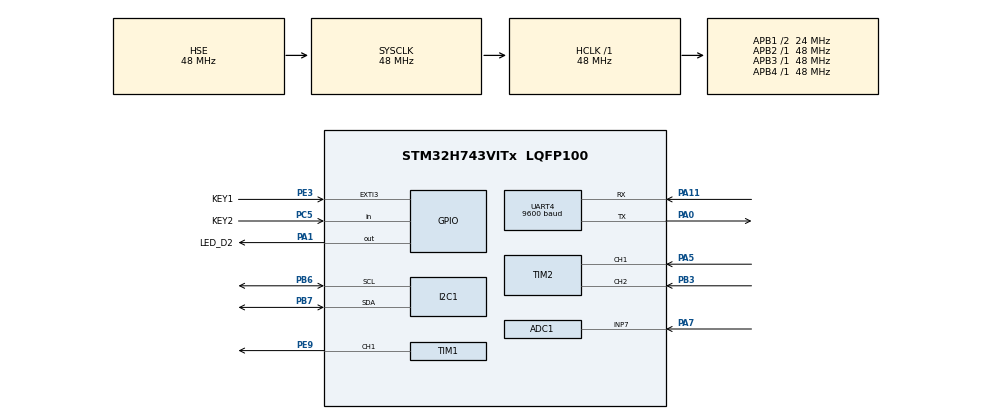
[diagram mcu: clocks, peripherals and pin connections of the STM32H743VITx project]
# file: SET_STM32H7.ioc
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ADC1.Channel-1\#ChannelRegularConversion=ADC_CHANNEL_7
ADC1.NbrOfConversionFlag=1
ADC1.OffsetNumber-1\#ChannelRegularConversion=ADC_OFFSET_NONE
ADC1.OffsetSignedSaturation-1\#ChannelRegularConversion=DISABLE
ADC1.Rank-1\#ChannelRegularConversion=1
ADC1.SamplingTime-1\#ChannelRegularConversion=ADC_SAMPLETIME_1CYCLE_5
ADC1.master=1
CORTEX_M7.default_mode_Activation=1
Dma.ADC1.0.Direction=DMA_PERIPH_TO_MEMORY
Dma.ADC1.0.EventEnable=DISABLE
Dma.ADC1.0.FIFOMode=DMA_FIFOMODE_DISABLE
Dma.ADC1.0.Instance=DMA1_Stream0
Dma.ADC1.0.MemDataAlignment=DMA_MDATAALIGN_HALFWORD
Dma.ADC1.0.MemInc=DMA_MINC_ENABLE
Dma.ADC1.0.Mode=DMA_CIRCULAR
Dma.ADC1.0.PeriphDataAlignment=DMA_PDATAALIGN_HALFWORD
Dma.ADC1.0.PeriphInc=DMA_PINC_DISABLE
Dma.ADC1.0.Polarity=HAL_DMAMUX_REQ_GEN_RISING
Dma.ADC1.0.Priority=DMA_PRIORITY_LOW
Dma.ADC1.0.RequestNumber=1
Dma.ADC1.0.SignalID=NONE
Dma.ADC1.0.SyncEnable=DISABLE
Dma.ADC1.0.SyncPolarity=HAL_DMAMUX_SYNC_NO_EVENT
Dma.ADC1.0.SyncRequestNumber=1
Dma.ADC1.0.SyncSignalID=NONE
Dma.Request0=ADC1
I2C1.Timing=0x00506682
Mcu.Family=STM32H7
Mcu.Name=STM32H743VITx
Mcu.Package=LQFP100
NVIC.DMA1_Stream0_IRQn=true\:0\:0\:false\:false\:true\:false\:true\:true
NVIC.EXTI3_IRQn=true\:2\:0\:true\:false\:true\:true\:true\:true
NVIC.PriorityGroup=NVIC_PRIORITYGROUP_4
NVIC.TIM2_IRQn=true\:1\:0\:true\:false\:true\:true\:true\:true
PA0.Mode=Asynchronous
PA0.Signal=UART4_TX
PA1.GPIO_Label=LED_D2
PA1.GPIO_PuPd=GPIO_PULLDOWN
PA1.Signal=GPIO_Output
PA11.Mode=Asynchronous
PA11.Signal=UART4_RX
PA5.Signal=S_TIM2_CH1_ETR
PA7.Signal=ADCx_INP7
PB3\ (JTDO/TRACESWO).Signal=S_TIM2_CH2
PB6.Mode=I2C
PB6.Signal=I2C1_SCL
PB7.Mode=I2C
PB7.Signal=I2C1_SDA
PC5.GPIO_Label=KEY2
PC5.GPIO_PuPd=GPIO_PULLUP
PC5.Signal=GPIO_Input
PE3.GPIO_Label=KEY1
PE3.GPIO_ModeDefaultEXTI=GPIO_MODE_IT_FALLING
PE3.GPIO_PuPd=GPIO_PULLUP
PE3.Signal=GPXTI3
PE9.Signal=S_TIM1_CH1
PH0-OSC_IN\ (PH0).Mode=HSE-External-Oscillator
PH0-OSC_IN\ (PH0).Signal=RCC_OSC_IN
PH1-OSC_OUT\ (PH1).Mode=HSE-External-Oscillator
PH1-OSC_OUT\ (PH1).Signal=RCC_OSC_OUT
ProjectManager.HeapSize=0x200
ProjectManager.StackSize=0x400
ProjectManager.TargetToolchain=STM32CubeIDE
RCC.ADCFreq_Value=80000000
RCC.APB1Freq_Value=24000000
RCC.APB2Freq_Value=48000000
RCC.APB3Freq_Value=48000000
RCC.APB4Freq_Value=48000000
RCC.CortexFreq_Value=48000000
RCC.D2PPRE1=RCC_APB1_DIV2
RCC.DIVM2=3
RCC.DIVN2=10
RCC.EnableHSERTCDevisor-ClockTree=true
RCC.HCLKFreq_Value=48000000
RCC.HSE_VALUE=48000000
RCC.PLL1_VCI_Range-AdvancedSettings=RCC_PLL1VCIRANGE_0
RCC.PLL2FRACN=0
RCC.PLL2_VCI_Range-AdvancedSettings=RCC_PLL2VCIRANGE_0
RCC.PLL3FRACN=0
RCC.PLLFRACN=0
RCC.PLLSourceVirtual=RCC_PLLSOURCE_HSE
RCC.SYSCLKFreq_VALUE=48000000
RCC.SYSCLKSource=RCC_SYSCLKSOURCE_HSE
RCC.USBFreq_Value=96750000
SH.ADCx_INP7.0=ADC1_INP7,IN7-Single-Ended
SH.S_TIM1_CH1.0=TIM1_CH1,PWM Generation1 CH1
SH.S_TIM2_CH1_ETR.0=TIM2_CH1,Encoder_Interface
SH.S_TIM2_CH2.0=TIM2_CH2,Encoder_Interface
TIM1.Channel-PWM\ Generation1\ CH1=TIM_CHANNEL_1
TIM1.Period=100
TIM1.Prescaler=48
TIM2.EncoderMode=TIM_ENCODERMODE_TI12
UART4.BaudRate=9600
VP_MEMORYMAP_VS_MEMORYMAP.Mode=CurAppReg
VP_TIM1_VS_ClockSourceINT.Mode=Internal
board=custom

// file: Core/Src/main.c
/* USER CODE BEGIN Header */
/**
 ******************************************************************************
 * @file           : main.c
 * @brief          : Main program body
 ******************************************************************************
 * @attention
 *
 * Copyright (c) 2024 STMicroelectronics.
 * All rights reserved.
 *
 * This software is licensed under terms that can be found in the LICENSE file
 * in the root directory of this software component.
 * If no LICENSE file comes with this software, it is provided AS-IS.
 *
 ******************************************************************************
 */
/* USER CODE END Header */
#include "main.h"

/* USER CODE BEGIN Includes */
#include "si5351.h"
#include "ui_lcd.h"
/* USER CODE END Includes */

/* USER CODE BEGIN PD */
#define MyI2C_LCD I2C_LCD_1
/* USER CODE END PD */

ADC_HandleTypeDef hadc1;
DMA_HandleTypeDef hdma_adc1;

I2C_HandleTypeDef hi2c1;

TIM_HandleTypeDef htim1;
TIM_HandleTypeDef htim2;

UART_HandleTypeDef huart4;

/* USER CODE BEGIN PV */
uint32_t encoder_value;
uint8_t value_k1, value_k2;
int8_t counter = 0;
int8_t option = 0;
uint16_t last_fsm_state = 0;
uint8_t lcd_ret_value = 0;
uint32_t last_value = 0;
int freq_si5351 = 0;
uint8_t flag = 0;
uint8_t freq_counter = 0;
int8_t freq_counter_state = 0;
int8_t pwm_counter = 0;
uint32_t adc_data_raw;
uint16_t adc_data_dma;
uint8_t state_debug = 0;
/* USER CODE END PV */

void SystemClock_Config(void);
static void MPU_Config(void);
static void MX_GPIO_Init(void);
static void MX_DMA_Init(void);
static void MX_UART4_Init(void);
static void MX_I2C1_Init(void);
static void MX_TIM2_Init(void);
static void MX_TIM1_Init(void);
static void MX_ADC1_Init(void);
/* USER CODE BEGIN PFP */
uint8_t Is_Value_K1_Changed();
void Counter_Get_Value();
void Frequency_Get_Value();
void PWM_Get_Value();
void Option_Get_Value();
/* USER CODE END PFP */

/* USER CODE BEGIN 0 */
void HAL_GPIO_EXTI_Callback(uint16_t GPIO_Pin)
{
    static uint32_t last_interrupt_time = 0;
    uint32_t interrupt_time = HAL_GetTick();

    if (interrupt_time - last_interrupt_time > 200) {
        value_k1 = !value_k1;
        last_value = 0;
        encoder_value = __HAL_TIM_SET_COUNTER(&htim2, 0);
    }

    last_interrupt_time = interrupt_time;
}
void HAL_TIM_IC_CaptureCallback(TIM_HandleTypeDef* htim)
{
    encoder_value = __HAL_TIM_GET_COUNTER(htim);
}
void HAL_ADC_ConvCpltCallback(ADC_HandleTypeDef* hadc)
{
    adc_data_dma = adc_data_raw;
}
/* USER CODE END 0 */

int main(void)
{

    /* USER CODE BEGIN 1 */
    uint8_t MSG[50] = { '\0' };
    /* USER CODE END 1 */

    /* MPU Configuration--------------------------------------------------------*/
    MPU_Config();

    /* MCU Configuration--------------------------------------------------------*/

    /* Reset of all peripherals, Initializes the Flash interface and the Systick. */
    HAL_Init();

    /* Configure the system clock */
    SystemClock_Config();

    /* Initialize all configured peripherals */
    MX_GPIO_Init();
    MX_DMA_Init();
    MX_UART4_Init();
    MX_I2C1_Init();
    MX_TIM2_Init();
    MX_TIM1_Init();
    MX_ADC1_Init();
    /* USER CODE BEGIN 2 */
    I2C_LCD_Init(MyI2C_LCD);
    HAL_TIM_Encoder_Start_IT(&htim2, TIM_CHANNEL_ALL);
    si5351_Init(0);
    HAL_TIM_PWM_Start(&htim1, TIM_CHANNEL_1);
    HAL_ADC_Start_DMA(&hadc1, &adc_data_raw, 1);
    /* USER CODE END 2 */

    /* Infinite loop */
    /* USER CODE BEGIN WHILE */
    while (1) {
        //-- Finite State Machine
        switch (fsm_state) {
        case MAIN_MENU:
            Option_Get_Value();
            if (Is_Value_K1_Changed()) {
                if (option == 0) {
                    fsm_state = SET_SI5351;
                } else if (option == 1) {
                    fsm_state = SET_LED_BRIGHTNESS;
                    HAL_GPIO_WritePin(LED_D2_GPIO_Port, LED_D2_Pin, GPIO_PIN_RESET);
                } else if (option == 2) {
                    fsm_state = GET_ADC;
                    HAL_GPIO_WritePin(LED_D2_GPIO_Port, LED_D2_Pin, GPIO_PIN_RESET);
                } else {
                    fsm_state = MAIN_MENU;
                }
            }
            break;

        case SET_SI5351: {
            static uint8_t change_value = 0;
            static uint8_t current_digit = 0;

            if (counter == 15 && Is_Value_K1_Changed()) {
                fsm_state = MAIN_MENU;
                HAL_GPIO_WritePin(LED_D2_GPIO_Port, LED_D2_Pin, GPIO_PIN_SET);
            } else if (counter == 14 && Is_Value_K1_Changed()) {
                si5351_SetupCLK0(freq_si5351, SI5351_DRIVE_STRENGTH_4MA);
                si5351_EnableOutputs(1 << 0);
                fsm_state = RUN_SI5351;
                HAL_GPIO_WritePin(LED_D2_GPIO_Port, LED_D2_Pin, GPIO_PIN_RESET);
            } else if (counter < 11 && Is_Value_K1_Changed() && counter != 3 && counter != 7) {
                change_value = !change_value;
                flag = !flag;
                current_digit = counter;
            }

            if (change_value) {
                Frequency_Get_Value();
                if (current_digit == 0) {
                    freq_si5351 += freq_counter_state * 100000000;
                } else if (current_digit == 1) {
                    freq_si5351 += freq_counter_state * 10000000;
                } else if (current_digit == 2) {
                    freq_si5351 += freq_counter_state * 1000000;
                } else if (current_digit == 4) {
                    freq_si5351 += freq_counter_state * 100000;
                } else if (current_digit == 5) {
                    freq_si5351 += freq_counter_state * 10000;
                } else if (current_digit == 6) {
                    freq_si5351 += freq_counter_state * 1000;
                } else if (current_digit == 8) {
                    freq_si5351 += freq_counter_state * 100;
                } else if (current_digit == 9) {
                    freq_si5351 += freq_counter_state * 10;
                } else if (current_digit == 10) {
                    freq_si5351 += freq_counter_state * 1;
                }

                if (freq_si5351 < 0) {
                    freq_si5351 = 0;
                } else if (freq_si5351 > 160000000) {
                    freq_si5351 = 160000000;
                }
            } else {
                Counter_Get_Value();
            }
            break;
        }

        case RUN_SI5351:
            if (Is_Value_K1_Changed()) {
                fsm_state = MAIN_MENU;
                HAL_GPIO_WritePin(LED_D2_GPIO_Port, LED_D2_Pin, GPIO_PIN_SET);
                si5351_EnableOutputs(0);
            }
            break;

        case SET_LED_BRIGHTNESS:
            PWM_Get_Value();
            TIM1->CCR1 = (pwm_counter) / 16.00 * 100;
            if (Is_Value_K1_Changed()) {
                fsm_state = MAIN_MENU;
                HAL_GPIO_WritePin(LED_D2_GPIO_Port, LED_D2_Pin, GPIO_PIN_SET);
            }
            break;

        case GET_ADC:
            if (Is_Value_K1_Changed()) {
                fsm_state = MAIN_MENU;
                HAL_GPIO_WritePin(LED_D2_GPIO_Port, LED_D2_Pin, GPIO_PIN_SET);
            }
            break;

        default:
            if (Is_Value_K1_Changed()) {
                fsm_state = MAIN_MENU;
                HAL_GPIO_WritePin(LED_D2_GPIO_Port, LED_D2_Pin, GPIO_PIN_SET);
            }
            break;
        }

        LCD_Routine(MyI2C_LCD, counter, &option, freq_si5351, flag, pwm_counter, adc_data_dma);

        // sprintf((char*)MSG, "%d", freq_si5351);
        // I2C_LCD_SetCursor(MyI2C_LCD, 0, 0);
        // I2C_LCD_WriteString(MyI2C_LCD, MSG);
        last_value = encoder_value;
        last_fsm_state = fsm_state;
        state_debug = fsm_state;

        HAL_Delay(100);
        /* USER CODE END WHILE */

    }
}

void SystemClock_Config(void)
{
    RCC_OscInitTypeDef RCC_OscInitStruct = { 0 };
    RCC_ClkInitTypeDef RCC_ClkInitStruct = { 0 };

    /** Supply configuration update enable
     */
    HAL_PWREx_ConfigSupply(PWR_LDO_SUPPLY);

    /** Configure the main internal regulator output voltage
     */
    __HAL_PWR_VOLTAGESCALING_CONFIG(PWR_REGULATOR_VOLTAGE_SCALE3);

    while (!__HAL_PWR_GET_FLAG(PWR_FLAG_VOSRDY)) { }

    /** Macro to configure the PLL clock source
     */
    __HAL_RCC_PLL_PLLSOURCE_CONFIG(RCC_PLLSOURCE_HSE);

    /** Initializes the RCC Oscillators according to the specified parameters
     * in the RCC_OscInitTypeDef structure.
     */
    RCC_OscInitStruct.OscillatorType = RCC_OSCILLATORTYPE_HSE;
    RCC_OscInitStruct.HSEState = RCC_HSE_ON;
    RCC_OscInitStruct.PLL.PLLState = RCC_PLL_NONE;
    if (HAL_RCC_OscConfig(&RCC_OscInitStruct) != HAL_OK) {
        Error_Handler();
    }

    /** Initializes the CPU, AHB and APB buses clocks
     */
    RCC_ClkInitStruct.ClockType = RCC_CLOCKTYPE_HCLK | RCC_CLOCKTYPE_SYSCLK
        | RCC_CLOCKTYPE_PCLK1 | RCC_CLOCKTYPE_PCLK2
        | RCC_CLOCKTYPE_D3PCLK1 | RCC_CLOCKTYPE_D1PCLK1;
    RCC_ClkInitStruct.SYSCLKSource = RCC_SYSCLKSOURCE_HSE;
    RCC_ClkInitStruct.SYSCLKDivider = RCC_SYSCLK_DIV1;
    RCC_ClkInitStruct.AHBCLKDivider = RCC_HCLK_DIV1;
    RCC_ClkInitStruct.APB3CLKDivider = RCC_APB3_DIV1;
    RCC_ClkInitStruct.APB1CLKDivider = RCC_APB1_DIV2;
    RCC_ClkInitStruct.APB2CLKDivider = RCC_APB2_DIV1;
    RCC_ClkInitStruct.APB4CLKDivider = RCC_APB4_DIV1;

    if (HAL_RCC_ClockConfig(&RCC_ClkInitStruct, FLASH_LATENCY_1) != HAL_OK) {
        Error_Handler();
    }
}

static void MX_ADC1_Init(void)
{

    ADC_MultiModeTypeDef multimode = { 0 };
    ADC_ChannelConfTypeDef sConfig = { 0 };

    /** Common config
     */
    hadc1.Instance = ADC1;
    hadc1.Init.ClockPrescaler = ADC_CLOCK_ASYNC_DIV2;
    hadc1.Init.Resolution = ADC_RESOLUTION_16B;
    hadc1.Init.ScanConvMode = ADC_SCAN_DISABLE;
    hadc1.Init.EOCSelection = ADC_EOC_SINGLE_CONV;
    hadc1.Init.LowPowerAutoWait = DISABLE;
    hadc1.Init.ContinuousConvMode = DISABLE;
    hadc1.Init.NbrOfConversion = 1;
    hadc1.Init.DiscontinuousConvMode = DISABLE;
    hadc1.Init.ExternalTrigConv = ADC_SOFTWARE_START;
    hadc1.Init.ExternalTrigConvEdge = ADC_EXTERNALTRIGCONVEDGE_NONE;
    hadc1.Init.ConversionDataManagement = ADC_CONVERSIONDATA_DR;
    hadc1.Init.Overrun = ADC_OVR_DATA_PRESERVED;
    hadc1.Init.LeftBitShift = ADC_LEFTBITSHIFT_NONE;
    hadc1.Init.OversamplingMode = DISABLE;
    hadc1.Init.Oversampling.Ratio = 1;
    if (HAL_ADC_Init(&hadc1) != HAL_OK) {
        Error_Handler();
    }

    /** Configure the ADC multi-mode
     */
    multimode.Mode = ADC_MODE_INDEPENDENT;
    if (HAL_ADCEx_MultiModeConfigChannel(&hadc1, &multimode) != HAL_OK) {
        Error_Handler();
    }

    /** Configure Regular Channel
     */
    sConfig.Channel = ADC_CHANNEL_7;
    sConfig.Rank = ADC_REGULAR_RANK_1;
    sConfig.SamplingTime = ADC_SAMPLETIME_1CYCLE_5;
    sConfig.SingleDiff = ADC_SINGLE_ENDED;
    sConfig.OffsetNumber = ADC_OFFSET_NONE;
    sConfig.Offset = 0;
    sConfig.OffsetSignedSaturation = DISABLE;
    if (HAL_ADC_ConfigChannel(&hadc1, &sConfig) != HAL_OK) {
        Error_Handler();
    }
}

static void MX_I2C1_Init(void)
{

    hi2c1.Instance = I2C1;
    hi2c1.Init.Timing = 0x00506682;
    hi2c1.Init.OwnAddress1 = 0;
    hi2c1.Init.AddressingMode = I2C_ADDRESSINGMODE_7BIT;
    hi2c1.Init.DualAddressMode = I2C_DUALADDRESS_DISABLE;
    hi2c1.Init.OwnAddress2 = 0;
    hi2c1.Init.OwnAddress2Masks = I2C_OA2_NOMASK;
    hi2c1.Init.GeneralCallMode = I2C_GENERALCALL_DISABLE;
    hi2c1.Init.NoStretchMode = I2C_NOSTRETCH_DISABLE;
    if (HAL_I2C_Init(&hi2c1) != HAL_OK) {
        Error_Handler();
    }

    /** Configure Analogue filter
     */
    if (HAL_I2CEx_ConfigAnalogFilter(&hi2c1, I2C_ANALOGFILTER_ENABLE) != HAL_OK) {
        Error_Handler();
    }

    /** Configure Digital filter
     */
    if (HAL_I2CEx_ConfigDigitalFilter(&hi2c1, 0) != HAL_OK) {
        Error_Handler();
    }
}

static void MX_TIM1_Init(void)
{

    TIM_ClockConfigTypeDef sClockSourceConfig = { 0 };
    TIM_MasterConfigTypeDef sMasterConfig = { 0 };
    TIM_OC_InitTypeDef sConfigOC = { 0 };
    TIM_BreakDeadTimeConfigTypeDef sBreakDeadTimeConfig = { 0 };

    htim1.Instance = TIM1;
    htim1.Init.Prescaler = 48;
    htim1.Init.CounterMode = TIM_COUNTERMODE_UP;
    htim1.Init.Period = 100;
    htim1.Init.ClockDivision = TIM_CLOCKDIVISION_DIV1;
    htim1.Init.RepetitionCounter = 0;
    htim1.Init.AutoReloadPreload = TIM_AUTORELOAD_PRELOAD_DISABLE;
    if (HAL_TIM_Base_Init(&htim1) != HAL_OK) {
        Error_Handler();
    }
    sClockSourceConfig.ClockSource = TIM_CLOCKSOURCE_INTERNAL;
    if (HAL_TIM_ConfigClockSource(&htim1, &sClockSourceConfig) != HAL_OK) {
        Error_Handler();
    }
    if (HAL_TIM_PWM_Init(&htim1) != HAL_OK) {
        Error_Handler();
    }
    sMasterConfig.MasterOutputTrigger = TIM_TRGO_RESET;
    sMasterConfig.MasterOutputTrigger2 = TIM_TRGO2_RESET;
    sMasterConfig.MasterSlaveMode = TIM_MASTERSLAVEMODE_DISABLE;
    if (HAL_TIMEx_MasterConfigSynchronization(&htim1, &sMasterConfig) != HAL_OK) {
        Error_Handler();
    }
    sConfigOC.OCMode = TIM_OCMODE_PWM1;
    sConfigOC.Pulse = 0;
    sConfigOC.OCPolarity = TIM_OCPOLARITY_HIGH;
    sConfigOC.OCNPolarity = TIM_OCNPOLARITY_HIGH;
    sConfigOC.OCFastMode = TIM_OCFAST_DISABLE;
    sConfigOC.OCIdleState = TIM_OCIDLESTATE_RESET;
    sConfigOC.OCNIdleState = TIM_OCNIDLESTATE_RESET;
    if (HAL_TIM_PWM_ConfigChannel(&htim1, &sConfigOC, TIM_CHANNEL_1) != HAL_OK) {
        Error_Handler();
    }
    sBreakDeadTimeConfig.OffStateRunMode = TIM_OSSR_DISABLE;
    sBreakDeadTimeConfig.OffStateIDLEMode = TIM_OSSI_DISABLE;
    sBreakDeadTimeConfig.LockLevel = TIM_LOCKLEVEL_OFF;
    sBreakDeadTimeConfig.DeadTime = 0;
    sBreakDeadTimeConfig.BreakState = TIM_BREAK_DISABLE;
    sBreakDeadTimeConfig.BreakPolarity = TIM_BREAKPOLARITY_HIGH;
    sBreakDeadTimeConfig.BreakFilter = 0;
    sBreakDeadTimeConfig.Break2State = TIM_BREAK2_DISABLE;
    sBreakDeadTimeConfig.Break2Polarity = TIM_BREAK2POLARITY_HIGH;
    sBreakDeadTimeConfig.Break2Filter = 0;
    sBreakDeadTimeConfig.AutomaticOutput = TIM_AUTOMATICOUTPUT_DISABLE;
    if (HAL_TIMEx_ConfigBreakDeadTime(&htim1, &sBreakDeadTimeConfig) != HAL_OK) {
        Error_Handler();
    }
    HAL_TIM_MspPostInit(&htim1);
}

static void MX_TIM2_Init(void)
{

    TIM_Encoder_InitTypeDef sConfig = { 0 };
    TIM_MasterConfigTypeDef sMasterConfig = { 0 };

    htim2.Instance = TIM2;
    htim2.Init.Prescaler = 0;
    htim2.Init.CounterMode = TIM_COUNTERMODE_UP;
    htim2.Init.Period = 4294967295;
    htim2.Init.ClockDivision = TIM_CLOCKDIVISION_DIV1;
    htim2.Init.AutoReloadPreload = TIM_AUTORELOAD_PRELOAD_DISABLE;
    sConfig.EncoderMode = TIM_ENCODERMODE_TI12;
    sConfig.IC1Polarity = TIM_ICPOLARITY_RISING;
    sConfig.IC1Selection = TIM_ICSELECTION_DIRECTTI;
    sConfig.IC1Prescaler = TIM_ICPSC_DIV1;
    sConfig.IC1Filter = 0;
    sConfig.IC2Polarity = TIM_ICPOLARITY_RISING;
    sConfig.IC2Selection = TIM_ICSELECTION_DIRECTTI;
    sConfig.IC2Prescaler = TIM_ICPSC_DIV1;
    sConfig.IC2Filter = 0;
    if (HAL_TIM_Encoder_Init(&htim2, &sConfig) != HAL_OK) {
        Error_Handler();
    }
    sMasterConfig.MasterOutputTrigger = TIM_TRGO_RESET;
    sMasterConfig.MasterSlaveMode = TIM_MASTERSLAVEMODE_DISABLE;
    if (HAL_TIMEx_MasterConfigSynchronization(&htim2, &sMasterConfig) != HAL_OK) {
        Error_Handler();
    }
}

static void MX_UART4_Init(void)
{

    huart4.Instance = UART4;
    huart4.Init.BaudRate = 9600;
    huart4.Init.WordLength = UART_WORDLENGTH_8B;
    huart4.Init.StopBits = UART_STOPBITS_1;
    huart4.Init.Parity = UART_PARITY_NONE;
    huart4.Init.Mode = UART_MODE_TX_RX;
    huart4.Init.HwFlowCtl = UART_HWCONTROL_NONE;
    huart4.Init.OverSampling = UART_OVERSAMPLING_16;
    huart4.Init.OneBitSampling = UART_ONE_BIT_SAMPLE_DISABLE;
    huart4.Init.ClockPrescaler = UART_PRESCALER_DIV1;
    huart4.AdvancedInit.AdvFeatureInit = UART_ADVFEATURE_NO_INIT;
    if (HAL_UART_Init(&huart4) != HAL_OK) {
        Error_Handler();
    }
    if (HAL_UARTEx_SetTxFifoThreshold(&huart4, UART_TXFIFO_THRESHOLD_1_8) != HAL_OK) {
        Error_Handler();
    }
    if (HAL_UARTEx_SetRxFifoThreshold(&huart4, UART_RXFIFO_THRESHOLD_1_8) != HAL_OK) {
        Error_Handler();
    }
    if (HAL_UARTEx_DisableFifoMode(&huart4) != HAL_OK) {
        Error_Handler();
    }
}

static void MX_DMA_Init(void)
{

    /* DMA controller clock enable */
    __HAL_RCC_DMA1_CLK_ENABLE();

    /* DMA interrupt init */
    /* DMA1_Stream0_IRQn interrupt configuration */
    HAL_NVIC_SetPriority(DMA1_Stream0_IRQn, 0, 0);
    HAL_NVIC_EnableIRQ(DMA1_Stream0_IRQn);
}

static void MX_GPIO_Init(void)
{
    GPIO_InitTypeDef GPIO_InitStruct = { 0 };

    /* GPIO Ports Clock Enable */
    __HAL_RCC_GPIOE_CLK_ENABLE();
    __HAL_RCC_GPIOH_CLK_ENABLE();
    __HAL_RCC_GPIOA_CLK_ENABLE();
    __HAL_RCC_GPIOC_CLK_ENABLE();
    __HAL_RCC_GPIOB_CLK_ENABLE();

    /*Configure GPIO pin Output Level */
    HAL_GPIO_WritePin(LED_D2_GPIO_Port, LED_D2_Pin, GPIO_PIN_RESET);

    /*Configure GPIO pin : KEY1_Pin */
    GPIO_InitStruct.Pin = KEY1_Pin;
    GPIO_InitStruct.Mode = GPIO_MODE_IT_FALLING;
    GPIO_InitStruct.Pull = GPIO_PULLUP;
    HAL_GPIO_Init(KEY1_GPIO_Port, &GPIO_InitStruct);

    /*Configure GPIO pin : LED_D2_Pin */
    GPIO_InitStruct.Pin = LED_D2_Pin;
    GPIO_InitStruct.Mode = GPIO_MODE_OUTPUT_PP;
    GPIO_InitStruct.Pull = GPIO_PULLDOWN;
    GPIO_InitStruct.Speed = GPIO_SPEED_FREQ_LOW;
    HAL_GPIO_Init(LED_D2_GPIO_Port, &GPIO_InitStruct);

    /*Configure GPIO pin : KEY2_Pin */
    GPIO_InitStruct.Pin = KEY2_Pin;
    GPIO_InitStruct.Mode = GPIO_MODE_INPUT;
    GPIO_InitStruct.Pull = GPIO_PULLUP;
    HAL_GPIO_Init(KEY2_GPIO_Port, &GPIO_InitStruct);

    /* EXTI interrupt init*/
    HAL_NVIC_SetPriority(KEY1_EXTI_IRQn, 2, 0);
    HAL_NVIC_EnableIRQ(KEY1_EXTI_IRQn);

}

/* USER CODE BEGIN 4 */
uint8_t Is_Value_K1_Changed()
{
    static uint8_t last_value_k1 = 0;
    if (value_k1 != last_value_k1) {
        last_value_k1 = value_k1;
        return 1;
    }
    return 0;
}

void Counter_Get_Value()
{
    if (encoder_value > last_value) {
        counter++;
    } else if (encoder_value < last_value) {
        counter--;
    }

    if (counter > 15)
        counter = 15;
    if (counter < 0)
        counter = 0;
}

void Frequency_Get_Value()
{
    if (encoder_value > last_value) {
        freq_counter++;
        freq_counter_state = 1;
    } else if (encoder_value < last_value) {
        freq_counter--;
        freq_counter_state = -1;
    } else {
        freq_counter_state = 0;
    }

    if (freq_counter > 15)
        freq_counter = 15;
    if (freq_counter < 0)
        freq_counter = 0;
}

void PWM_Get_Value()
{
    if (encoder_value > last_value) {
        pwm_counter++;
    } else if (encoder_value < last_value) {
        pwm_counter--;
    }

    if (pwm_counter > 16)
        pwm_counter = 16;
    if (pwm_counter < 0)
        pwm_counter = 0;
}

void Option_Get_Value()
{
    if (encoder_value > last_value) {
        option++;
    } else if (encoder_value < last_value) {
        option--;
    }
    if (option > 2)
        option = 2;
    if (option < 0)
        option = 0;
}
/* USER CODE END 4 */

/* MPU Configuration */

void MPU_Config(void)
{
    MPU_Region_InitTypeDef MPU_InitStruct = { 0 };

    /* Disables the MPU */
    HAL_MPU_Disable();

    /** Initializes and configures the Region and the memory to be protected
     */
    MPU_InitStruct.Enable = MPU_REGION_ENABLE;
    MPU_InitStruct.Number = MPU_REGION_NUMBER0;
    MPU_InitStruct.BaseAddress = 0x0;
    MPU_InitStruct.Size = MPU_REGION_SIZE_4GB;
    MPU_InitStruct.SubRegionDisable = 0x87;
    MPU_InitStruct.TypeExtField = MPU_TEX_LEVEL0;
    MPU_InitStruct.AccessPermission = MPU_REGION_NO_ACCESS;
    MPU_InitStruct.DisableExec = MPU_INSTRUCTION_ACCESS_DISABLE;
    MPU_InitStruct.IsShareable = MPU_ACCESS_SHAREABLE;
    MPU_InitStruct.IsCacheable = MPU_ACCESS_NOT_CACHEABLE;
    MPU_InitStruct.IsBufferable = MPU_ACCESS_NOT_BUFFERABLE;

    HAL_MPU_ConfigRegion(&MPU_InitStruct);
    /* Enables the MPU */
    HAL_MPU_Enable(MPU_PRIVILEGED_DEFAULT);
}

void Error_Handler(void)
{
    __disable_irq();
    while (1) {
    }
}
